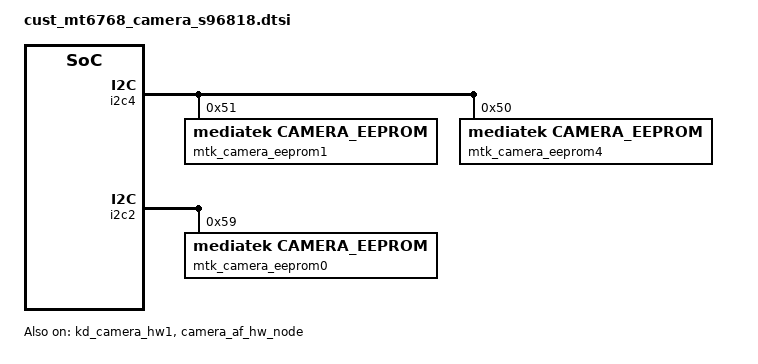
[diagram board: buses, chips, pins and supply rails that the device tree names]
/* SPDX-License-Identifier: GPL-2.0 */
/*
 * Copyright (c) 2019 MediaTek Inc.
*/
/* CAMERA GPIO standardization */
&pio {
	camera0_mclk_2mA: camera0_mclk_2mA@gpio100 {
		pins_cmd_dat {
			pinmux = <PINMUX_GPIO100__FUNC_CMMCLK1>;
			drive-strength = <MTK_DRIVE_2mA>;
		};
	};
	camera0_mclk_4mA: camera0_mclk_4mA@gpio100 {
		pins_cmd_dat {
			pinmux = <PINMUX_GPIO100__FUNC_CMMCLK1>;
			drive-strength = <MTK_DRIVE_4mA>;
		};
	};
	camera0_mclk_6mA: camera0_mclk_6mA@gpio100 {
		pins_cmd_dat {
			pinmux = <PINMUX_GPIO100__FUNC_CMMCLK1>;
			drive-strength = <MTK_DRIVE_6mA>;
		};
	};
	camera0_mclk_8mA: camera0_mclk_8mA@gpio100 {
		pins_cmd_dat {
			pinmux = <PINMUX_GPIO100__FUNC_CMMCLK1>;
			drive-strength = <7>;
		};
	};
	camera0_mclk_off: camera0_mclk_gpio_mode@gpio100 {
		pins_cmd_dat {
			pinmux = <PINMUX_GPIO100__FUNC_GPIO100>;
			drive-strength = <MTK_DRIVE_4mA>;
		};
	};
	camera1_mclk_2mA: camera1_mclk_2mA@gpio108 {
		pins_cmd_dat {
			pinmux = <PINMUX_GPIO108__FUNC_CMMCLK2>;
			drive-strength = <MTK_DRIVE_2mA>;
		};
	};
	camera1_mclk_4mA: camera1_mclk_4mA@gpio108 {
		pins_cmd_dat {
			pinmux = <PINMUX_GPIO108__FUNC_CMMCLK2>;
			drive-strength = <MTK_DRIVE_4mA>;
		};
	};
	camera1_mclk_6mA: camera1_mclk_6mA@gpio108 {
		pins_cmd_dat {
			pinmux = <PINMUX_GPIO108__FUNC_CMMCLK2>;
			drive-strength = <MTK_DRIVE_6mA>;
		};
	};
	camera1_mclk_8mA: camera1_mclk_8mA@gpio108 {
		pins_cmd_dat {
			pinmux = <PINMUX_GPIO108__FUNC_CMMCLK2>;
			drive-strength = <7>;
		};
	};
	camera1_mclk_off: camera1_mclk_gpio_mode@gpio108 {
		pins_cmd_dat {
			pinmux = <PINMUX_GPIO108__FUNC_GPIO108>;
			drive-strength = <MTK_DRIVE_4mA>;
		};
	};
	camera2_mclk_2mA: camera2_mclk_2mA@gpio99 {
		pins_cmd_dat {
			pinmux = <PINMUX_GPIO99__FUNC_CMMCLK0>;
			drive-strength = <MTK_DRIVE_2mA>;
		};
	};
	camera2_mclk_4mA: camera2_mclk_4mA@gpio99 {
		pins_cmd_dat {
			pinmux = <PINMUX_GPIO99__FUNC_CMMCLK0>;
			drive-strength = <MTK_DRIVE_4mA>;
		};
	};
	camera2_mclk_6mA: camera2_mclk_6mA@gpio99 {
		pins_cmd_dat {
			pinmux = <PINMUX_GPIO99__FUNC_CMMCLK0>;
			drive-strength = <MTK_DRIVE_6mA>;
		};
	};
	camera2_mclk_8mA: camera2_mclk_8mA@gpio99 {
		pins_cmd_dat {
			pinmux = <PINMUX_GPIO99__FUNC_CMMCLK0>;
			drive-strength = <7>;
		};
	};
	camera2_mclk_off: camera2_mclk_gpio_mode@gpio99 {
		pins_cmd_dat {
			pinmux = <PINMUX_GPIO99__FUNC_GPIO99>;
			drive-strength = <MTK_DRIVE_4mA>;
		};
	};
	camera0_rst_low: camera0_rst_output_low@gpio102 {
		pins_cmd_dat {
			pinmux = <PINMUX_GPIO102__FUNC_GPIO102>;
			output-low;
		};
	};
	camera0_rst_high: camera0_rst_output_high@gpio102 {
		pins_cmd_dat {
			pinmux = <PINMUX_GPIO102__FUNC_GPIO102>;
			output-high;
		};
	};
	//+S96818AA1-1936,liudijin.wt,ADD,2023/07/22,add avdd ldo supprot for main sensor.
	camera_pins_cam0_vcama_2v8_0: cam0@vcam6 {
		pins_cmd_dat {
			pinmux = <PINMUX_GPIO165__FUNC_GPIO165>;
			slew-rate = <1>;
			output-low;
		};
	};
	camera_pins_cam0_vcama_2v8_1: cam0@vcam7 {
		pins_cmd_dat {
			pinmux = <PINMUX_GPIO165__FUNC_GPIO165>;
			slew-rate = <1>;
			output-high;
		};
	};
	camera_pins_cam1_vcama_2v8_0: cam1@vcam8 {
		pins_cmd_dat {
			pinmux = <PINMUX_GPIO165__FUNC_GPIO165>;
			slew-rate = <1>;
			output-low;
		};
	};
	camera_pins_cam1_vcama_2v8_1: cam1@vcam9 {
		pins_cmd_dat {
			pinmux = <PINMUX_GPIO165__FUNC_GPIO165>;
			slew-rate = <1>;
			output-high;
		};
	};
	//-S96818AA1-1936,liudijin.wt,ADD,2023/07/22,add avdd ldo supprot for main sensor.
	camera1_rst_low: camera1_rst_output_low@gpio109 {
		pins_cmd_dat {
			pinmux = <PINMUX_GPIO109__FUNC_GPIO109>;
			output-low;
		};
	};
	camera1_rst_high: camera1_rst_output_high@gpio109 {
		pins_cmd_dat {
			pinmux = <PINMUX_GPIO109__FUNC_GPIO109>;
			output-high;
		};
	};
	camera2_pdn_low: camera2_pdn_output_low@gpio97 {
		pins_cmd_dat {
			pinmux = <PINMUX_GPIO97__FUNC_GPIO97>;
			output-low;
		};
	};
	camera2_pdn_high: camera2_pdn_output_high@gpio97 {
		pins_cmd_dat {
			pinmux = <PINMUX_GPIO97__FUNC_GPIO97>;
			output-high;
		};
	};
	camera_pins_default: camdefault {
	};

};

&kd_camera_hw1 {
	pinctrl-names = "default",
			"cam0_rst0", "cam0_rst1",
			"cam1_rst0", "cam1_rst1",
			"cam2_pnd0", "cam2_pnd1",
			"cam0_mclk_off",
			"cam0_mclk_2mA", "cam0_mclk_4mA",
			"cam0_mclk_6mA", "cam0_mclk_8mA",
			"cam1_mclk_off",
			"cam1_mclk_2mA", "cam1_mclk_4mA",
			"cam1_mclk_6mA", "cam1_mclk_8mA",
			"cam2_mclk_off",
			"cam2_mclk_2mA", "cam2_mclk_4mA",
			"cam2_mclk_6mA", "cam2_mclk_8mA",
			"cam0_ldo_vcama_2v8_0","cam0_ldo_vcama_2v8_1",
			"cam1_ldo_vcama_2v8_0","cam1_ldo_vcama_2v8_1";

	pinctrl-0 = <&camera_pins_default>;
	pinctrl-1 = <&camera0_rst_low>;
	pinctrl-2 = <&camera0_rst_high>;
	pinctrl-3 = <&camera1_rst_low>;
	pinctrl-4 = <&camera1_rst_high>;
	pinctrl-5 = <&camera2_pdn_low>;
	pinctrl-6 = <&camera2_pdn_high>;
	pinctrl-7 = <&camera0_mclk_off>;
	pinctrl-8 = <&camera0_mclk_2mA>;
	pinctrl-9 = <&camera0_mclk_4mA>;
	pinctrl-10 = <&camera0_mclk_6mA>;
	pinctrl-11 = <&camera0_mclk_8mA>;
	pinctrl-12 = <&camera1_mclk_off>;
	pinctrl-13 = <&camera1_mclk_2mA>;
	pinctrl-14 = <&camera1_mclk_4mA>;
	pinctrl-15 = <&camera1_mclk_6mA>;
	pinctrl-16 = <&camera1_mclk_8mA>;
	pinctrl-17 = <&camera2_mclk_off>;
	pinctrl-18 = <&camera2_mclk_2mA>;
	pinctrl-19 = <&camera2_mclk_4mA>;
	pinctrl-20 = <&camera2_mclk_6mA>;
	pinctrl-21 = <&camera2_mclk_8mA>;
	pinctrl-22 = <&camera_pins_cam0_vcama_2v8_0>;
	pinctrl-23 = <&camera_pins_cam0_vcama_2v8_1>;
	pinctrl-24 = <&camera_pins_cam1_vcama_2v8_0>;
	pinctrl-25 = <&camera_pins_cam1_vcama_2v8_1>;

	cam0_vcama-supply = <&mt_pmic_vcama1_ldo_reg>;
	cam1_vcama-supply = <&mt_pmic_vcama1_ldo_reg>;
	cam2_vcama-supply = <&mt_pmic_vcama2_ldo_reg>;
	cam0_vcamd-supply = <&mt_pmic_vcamd_ldo_reg>;
	cam1_vcamd-supply = <&mt_pmic_vcamd_ldo_reg>;
	cam0_vcamio-supply = <&mt_pmic_vcamio_ldo_reg>;
	cam1_vcamio-supply = <&mt_pmic_vcamio_ldo_reg>;
	cam2_vcamio-supply = <&mt_pmic_vcamio_ldo_reg>;
	cam0_vcamaf-supply = <&mt_pmic_vldo28_ldo_reg>;
	cam0_enable_sensor = "n28hi5021qreartruly_mipi_raw n28hi5021qreardc_mipi_raw n28hi5022qreartxd_mipi_raw n28gc50e0reargkw_mipi_raw n28s5kjn1reartruly_mipi_raw n28s5kjn1reardc_mipi_raw";
	cam1_enable_sensor = "n28hi846fronttruly_mipi_raw n28gc08a3frontcxt_mipi_raw n28sc800csfrontdc_mipi_raw n28c8496frontdc_mipi_raw n28sc800csafrontdc_mipi_raw";
	cam2_enable_sensor = "n28c2519depcxt_mipi_mono n28c2519depcxt2_mipi_mono n28c2519depcxt3_mipi_mono n28c2519depcxt4_mipi_mono n28c2519depcxt5_mipi_mono n28gc2375hdeplh_mipi_raw n28gc2375hdeplh2_mipi_raw n28gc2375hdeplh3_mipi_raw n28gc2375hdeplh4_mipi_raw n28gc2375hdeplh5_mipi_raw";
	status = "okay";

};

//+bug S96818AA1-1936, liudijin.wt, Modify, 2023/4/13, Flashlight aw3641 bringup
&pio {
	camera_pins_flashlights_on: camera_pins_flashlights_on {
		pins_cmd_dat {
			pinmux = <PINMUX_GPIO153__FUNC_GPIO153>;
			slew-rate = <1>;
			output-high;
		};
	};
	camera_pins_flashlights_off: camera_pins_flashlights_off {
		pins_cmd_dat {
			pinmux = <PINMUX_GPIO153__FUNC_GPIO153>;
			slew-rate = <1>;
			output-low;
		};
	};
	camera_pins_flashlights_on_main: camera_pins_flashlights_on_main {
		pins_cmd_dat {
			pinmux = <PINMUX_GPIO152__FUNC_GPIO152>;
			slew-rate = <1>;
			output-high;
		};
	};
	camera_pins_flashlights_off_main: camera_pins_flashlights_off_main {
		pins_cmd_dat {
			pinmux = <PINMUX_GPIO152__FUNC_GPIO152>;
			slew-rate = <1>;
			output-low;
		};
	};
	camera_pins_flashlights_pwm_pin: camera_pins_flashlights_pwm_pin {
		pins_cmd_dat {
			pinmux = <PINMUX_GPIO153__FUNC_PWM0>;
			//pinmux = <PINMUX_GPIO9__FUNC_GPIO9>;
			slew-rate = <1>;
			output-high;
		};
	};
	camera_pins_flashlights_pwm_aw_pin: camera_pins_flashlights_pwm_aw_pin {
		pins_cmd_dat {
			pinmux = <PINMUX_GPIO152__FUNC_PWM2>;
			//pinmux = <PINMUX_GPIO152__FUNC_GPIO152>;
			slew-rate = <1>;
			output-high;
		};
	};

	camera_pins_flashlights_default: camera_pins_flashlights_default {
	};
};

&flashlights_ocp8111 {
		compatible = "mediatek,flashlights_ocp8111";
		pinctrl-names = "default",
			"flashlights_on",
			"flashlights_off",
			"flashlights_on_main",
			"flashlights_off_main",
			"flashlights_pwm_pin",
			"flashlights_pwm_aw_pin";

		pinctrl-0 = <&camera_pins_flashlights_default>;
		pinctrl-1 = <&camera_pins_flashlights_on>;
		pinctrl-2 = <&camera_pins_flashlights_off>;
		pinctrl-3 = <&camera_pins_flashlights_on_main>;
		pinctrl-4 = <&camera_pins_flashlights_off_main>;
		pinctrl-5 = <&camera_pins_flashlights_pwm_pin>;
		pinctrl-6 = <&camera_pins_flashlights_pwm_aw_pin>;
};
//-bug S96818AA1-1936, liudijin.wt, Modify, 2023/4/13, Flashlight aw3641 bringup

/* CAMERA GPIO end */
/* CAMERA EEPROM */
&i2c4 {
	mtk_camera_eeprom1:camera_eeprom1@51 {
		compatible = "mediatek,camera_eeprom";
		reg = <0x51>;
		status = "okay";
	};
	mtk_camera_eeprom4:camera_eeprom4@50 {
		compatible = "mediatek,camera_eeprom";
		reg = <0x50>;
		status = "okay";
	};
};
&i2c2 {
	mtk_camera_eeprom0:camera_eeprom0@59 {
		compatible = "mediatek,camera_eeprom";
		reg = <0x59>;
		status = "okay";
	};
};
/* CAMERA EEPROM end */

/* CAMERA AF */
&camera_af_hw_node {
		camaf_m1_pmic-supply = <&mt_pmic_vldo28_ldo_reg>;
		status = "okay";
};
/* CAMERA AF end */
